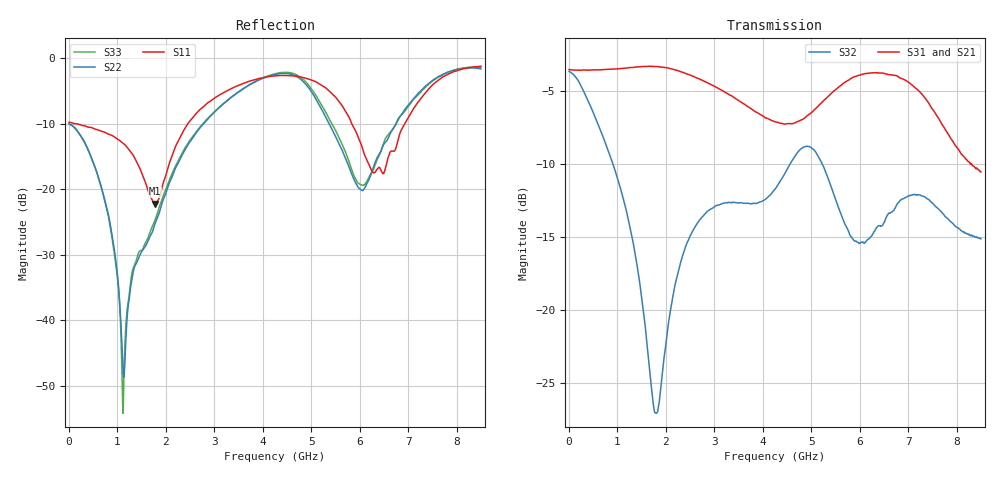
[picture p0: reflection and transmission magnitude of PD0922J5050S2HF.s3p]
!Port 1 = Pin 2 = Input
!Port 2 = Pin 4 = Output 1
!Port 3 = Pin 6 = Output 2
# MHZ S DB R 50
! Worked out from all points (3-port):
!   851 points, 3 MHz to 8.5 GHz, reference 50 ohm
!   strongest paths, dB at 3 MHz, 2.122 GHz, 4.252 GHz, 6.381 GHz, 8.5 GHz:
!     S31: -3.5, -3.5, -7.1, -3.8, -10.6
!     S21: -3.5, -3.5, -6.8, -3.8, -10.3
!     S32: -3.7, -19.5, -11.7, -14.2, -15.1
!   lowest |S11| = -22.2 dB at 1.772 GHz (marker M1), VSWR 1.17, Z = 55.5 + j6.16 ohm
!   |S11| at or under -10 dB: 180.8 MHz to 2.449 GHz (2.268 GHz wide, 172 % of centre); 5.838 GHz to 6.927 GHz (1.088 GHz wide, 17.1 % of centre)
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3  -9.73 -174.5  -3.55 5.3  -3.53 5.3
   -3.54 5.3  -10.00 -175.0  -3.66 5.0
   -3.53 5.3  -3.67 5.1  -10.00 -175.0
792.721  -11.47 153.4  -3.55 -41.5  -3.52 -41.4
         -3.55 -41.5  -23.20 88.4  -8.94 -59.9
         -3.53 -41.4  -8.95 -59.9  -23.40 89.9
1112.61  -12.94 140.9  -3.48 -58.4  -3.46 -58.2
         -3.48 -58.4  -46.99 22.9  -12.32 -74.4
         -3.46 -58.2  -12.29 -74.4  -54.18 -0.4
1772.38  -22.16 45.1  -3.33 -96.2  -3.32 -96.1
         -3.33 -96.2  -25.28 -67.3  -27.19 -43.5
         -3.33 -96.1  -27.06 -42.4  -24.78 -62.9
4251.5  -2.67 -156.0  -6.83 128.4  -7.13 128.5
        -6.83 128.4  -2.45 -145.4  -11.77 -40.7
        -7.11 128.3  -11.74 -40.7  -2.34 -146.1
5960.9  -11.89 170.4  -3.96 52.5  -3.95 53.1
        -3.95 52.4  -19.61 -171.7  -15.52 113.4
        -3.95 53.1  -15.38 113.4  -18.98 -171.0
6750.62  -13.58 148.0  -3.98 -86.4  -3.95 -85.7
         -3.98 -86.4  -9.84 141.7  -12.90 -67.9
         -3.96 -85.6  -12.90 -67.8  -10.01 148.1
7210.46  -6.61 79.5  -5.06 -170.2  -4.99 -169.7
         -5.07 -170.2  -5.28 76.7  -12.13 -158.1
         -4.97 -169.8  -12.13 -158.4  -5.50 80.2
7750.26  -2.70 -5.0  -7.56 97.5  -7.55 96.6
         -7.57 97.5  -2.32 -5.1  -13.55 106.3
         -7.58 96.5  -13.56 106.2  -2.37 -5.5
8500  -1.18 -101.5  -10.36 -14.1  -10.66 -13.9
      -10.33 -14.5  -1.59 -120.3  -15.11 -17.4
      -10.55 -14.2  -15.13 -16.9  -1.36 -121.2
